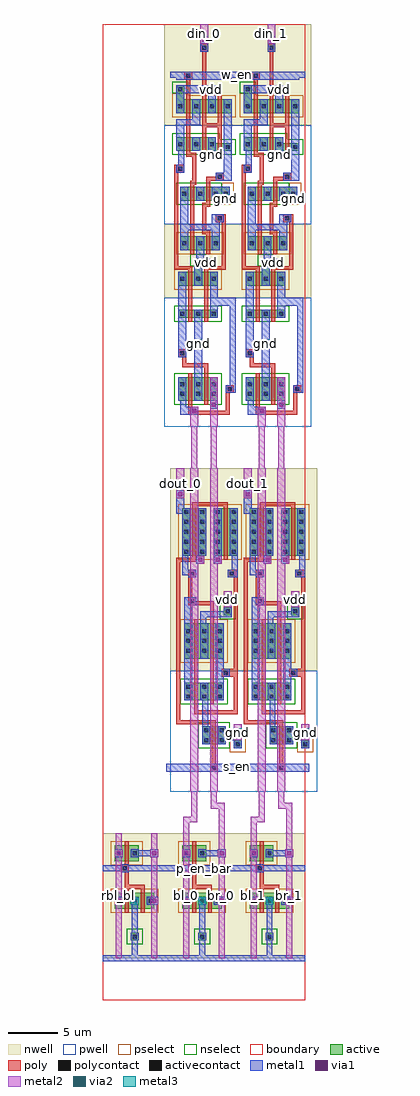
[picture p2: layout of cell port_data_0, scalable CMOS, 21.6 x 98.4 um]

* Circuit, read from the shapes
.subckt port_data_0 bl_0 bl_1 br_0 br_1 din_0 din_1 dout_0 dout_1 gnd p_en_bar rbl_bl rbl_br s_en vdd w_en
M1 n1 w_en n2 gnd nfet w=1.4u l=0.4u
M2 gnd n3 bl_0 gnd nfet w=2.4u l=0.4u
M3 gnd n2 n4 gnd nfet w=0.8u l=0.4u
M4 n5 w_en n6 gnd nfet w=1.4u l=0.4u
M5 n7 n8 dout_0 gnd nfet w=1.8u l=0.4u
M6 gnd din_0 n1 gnd nfet w=1.4u l=0.4u
M7 br_0 n4 gnd gnd nfet w=2.4u l=0.4u
M8 n3 n6 gnd gnd nfet w=0.8u l=0.4u
M9 gnd n9 n5 gnd nfet w=1.4u l=0.4u
M10 n8 dout_0 n7 gnd nfet w=1.8u l=0.4u
M11 gnd s_en n7 gnd nfet w=1.8u l=0.4u
M12 n9 din_0 gnd gnd nfet w=0.8u l=0.4u
M13 n10 w_en n11 gnd nfet w=1.4u l=0.4u
M14 gnd n12 bl_1 gnd nfet w=2.4u l=0.4u
M15 gnd n11 n13 gnd nfet w=0.8u l=0.4u
M16 n14 w_en n15 gnd nfet w=1.4u l=0.4u
M17 n16 n17 dout_1 gnd nfet w=1.8u l=0.4u
M18 gnd din_1 n10 gnd nfet w=1.4u l=0.4u
M19 br_1 n13 gnd gnd nfet w=2.4u l=0.4u
M20 n12 n15 gnd gnd nfet w=0.8u l=0.4u
M21 gnd n18 n14 gnd nfet w=1.4u l=0.4u
M22 n17 dout_1 n16 gnd nfet w=1.8u l=0.4u
M23 gnd s_en n16 gnd nfet w=1.8u l=0.4u
M24 n18 din_1 gnd gnd nfet w=0.8u l=0.4u
M25 vdd p_en_bar rbl_bl vdd pfet w=1.6u l=0.4u
M26 rbl_br p_en_bar rbl_bl vdd pfet w=1.6u l=0.4u
M27 rbl_br p_en_bar vdd vdd pfet w=1.6u l=0.4u
M28 n2 w_en vdd vdd pfet w=1.4u l=0.4u
M29 vdd n2 n4 vdd pfet w=1.4u l=0.4u
M30 vdd w_en n6 vdd pfet w=1.4u l=0.4u
M31 vdd p_en_bar bl_0 vdd pfet w=1.6u l=0.4u
M32 br_0 p_en_bar bl_0 vdd pfet w=1.6u l=0.4u
M33 bl_0 s_en dout_0 vdd pfet w=4.8u l=0.4u
M34 vdd n8 dout_0 vdd pfet w=3.6u l=0.4u
M35 vdd din_0 n2 vdd pfet w=1.4u l=0.4u
M36 n3 n6 vdd vdd pfet w=1.4u l=0.4u
M37 n6 n9 vdd vdd pfet w=1.4u l=0.4u
M38 br_0 p_en_bar vdd vdd pfet w=1.6u l=0.4u
M39 n8 dout_0 vdd vdd pfet w=3.6u l=0.4u
M40 n9 din_0 vdd vdd pfet w=1.4u l=0.4u
M41 n8 s_en br_0 vdd pfet w=4.8u l=0.4u
M42 n11 w_en vdd vdd pfet w=1.4u l=0.4u
M43 vdd n11 n13 vdd pfet w=1.4u l=0.4u
M44 vdd w_en n15 vdd pfet w=1.4u l=0.4u
M45 vdd p_en_bar bl_1 vdd pfet w=1.6u l=0.4u
M46 br_1 p_en_bar bl_1 vdd pfet w=1.6u l=0.4u
M47 bl_1 s_en dout_1 vdd pfet w=4.8u l=0.4u
M48 vdd n17 dout_1 vdd pfet w=3.6u l=0.4u
M49 vdd din_1 n11 vdd pfet w=1.4u l=0.4u
M50 n12 n15 vdd vdd pfet w=1.4u l=0.4u
M51 n15 n18 vdd vdd pfet w=1.4u l=0.4u
M52 br_1 p_en_bar vdd vdd pfet w=1.6u l=0.4u
M53 n17 dout_1 vdd vdd pfet w=3.6u l=0.4u
M54 n18 din_1 vdd vdd pfet w=1.4u l=0.4u
M55 n17 s_en br_1 vdd pfet w=4.8u l=0.4u
.ends

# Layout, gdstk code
import gdstk
lib = gdstk.Library(unit=1e-6, precision=1e-09)
def R(c, l, rs):  # rectangles x0, y0, x1, y1
    for r in rs: c.add(gdstk.rectangle(r[:2], r[2:], *l))
def A(c, l, x, y, w, h, nx, ny, dx, dy):  # array of equal rectangles
    R(c, l, [(x+i*dx, y+j*dy, x+i*dx+w, y+j*dy+h) for i in range(nx) for j in range(ny)])
pwell = (41, 0)
nwell = (42, 0)
active = (43, 0)
pselect = (44, 0)
nselect = (45, 0)
poly = (46, 0)
polycontact = (47, 0)
activecontact = (48, 0)
metal1 = (49, 0)
via1 = (50, 0)
metal2 = (51, 0)
via2 = (61, 0)
metal3 = (62, 0)
boundary = (63, 0)

contact_9 = lib.new_cell('contact_9')
R(contact_9, nwell, [(-1.2,-1.2,2,2)])
R(contact_9, active, [(0,0,0.8,0.8)])
R(contact_9, pselect, [(-0.4,-0.4,1.2,1.2)])
R(contact_9, activecontact, [(0.2,0.2,0.6,0.6)])
R(contact_9, metal1, [(0,0,0.8,0.8)])

pmos_m1_w1_600 = lib.new_cell('pmos_m1_w1_600')
R(pmos_m1_w1_600, nwell, [(-1.2,-1.2,3.6,2.8)])
R(pmos_m1_w1_600, active, [(0,0,2.4,1.6)])
R(pmos_m1_w1_600, pselect, [(-0.4,-0.4,2.8,2)])
R(pmos_m1_w1_600, poly, [(1,-0.4,1.4,2), (1,-0.4,1.4,2)])
R(pmos_m1_w1_600, metal1, [(0,0.4,0.8,1.2), (1.6,0.4,2.4,1.2)])
pmos_m1_w1_600.add(gdstk.Reference(contact_9, (0,0.4)))
pmos_m1_w1_600.add(gdstk.Reference(contact_9, (1.6,0.4)))
pmos_m1_w1_600.add(gdstk.Label('G', (1.2,0.8), layer=46, texttype=0))
pmos_m1_w1_600.add(gdstk.Label('S', (0.4,0.8), layer=49, texttype=0))
pmos_m1_w1_600.add(gdstk.Label('D', (2,0.8), layer=49, texttype=0))

contact_10 = lib.new_cell('contact_10')
R(contact_10, poly, [(0,0,0.8,0.8)])
R(contact_10, polycontact, [(0.2,0.2,0.6,0.6)])
R(contact_10, metal1, [(0,0,0.8,0.8)])

contact_11 = lib.new_cell('contact_11')
R(contact_11, nwell, [(-1.2,-1.2,2,2)])
R(contact_11, active, [(0,0,0.8,0.8)])
R(contact_11, nselect, [(-0.4,-0.4,1.2,1.2)])
R(contact_11, activecontact, [(0.2,0.2,0.6,0.6)])
R(contact_11, metal1, [(0,0,0.8,0.8)])

contact_12 = lib.new_cell('contact_12')
R(contact_12, metal1, [(0,0,0.8,0.8)])
R(contact_12, via1, [(0.2,0.2,0.6,0.6)])
R(contact_12, metal2, [(0,0,0.8,0.8)])

contact_13 = lib.new_cell('contact_13')
R(contact_13, metal2, [(0,0,0.8,0.8)])
R(contact_13, via2, [(0.2,0.2,0.6,0.6)])
R(contact_13, metal3, [(0,0,0.8,0.8)])

precharge_0 = lib.new_cell('precharge_0')
R(precharge_0, nwell, [(0,0,6.8,12.6)])
R(precharge_0, poly, [(2.2,0.8,2.6,5.6), (2.2,5.2,4.2,5.6)])
R(precharge_0, metal1, [(3.2,1.7,5.2,2.3), (0,3.2,6.8,3.8), (4.8,6.5,5.2,7.1), (2.9,7.2,3.5,12.6), (0,12.3,6.8,12.9)])
R(precharge_0, metal2, [(1.3,0,1.9,12.6), (4.9,0,5.5,12.6)])
R(precharge_0, metal3, [(2.8,6.4,3.6,7.2)])
precharge_0.add(gdstk.Reference(pmos_m1_w1_600, (1.2,1.2)))
precharge_0.add(gdstk.Reference(pmos_m1_w1_600, (1.2,6)))
precharge_0.add(gdstk.Reference(pmos_m1_w1_600, (2.8,6)))
precharge_0.add(gdstk.Reference(contact_10, (1.8,3.1)))
precharge_0.add(gdstk.Reference(contact_11, (2.8,10)))
precharge_0.add(gdstk.Reference(contact_12, (2.8,6.4)))
precharge_0.add(gdstk.Reference(contact_13, (2.8,6.4)))
precharge_0.add(gdstk.Reference(contact_12, (1.2,6.4)))
precharge_0.add(gdstk.Reference(contact_12, (1.2,1.6)))
precharge_0.add(gdstk.Reference(contact_12, (4.8,6.4)))
precharge_0.add(gdstk.Reference(contact_12, (4.8,1.6)))
precharge_0.add(gdstk.Label('en_bar', (3.4,3.5), layer=49, texttype=0))
precharge_0.add(gdstk.Label('vdd', (3.2,6.8), layer=62, texttype=0))
precharge_0.add(gdstk.Label('bl', (1.6,6.3), layer=51, texttype=0))
precharge_0.add(gdstk.Label('br', (5.2,6.3), layer=51, texttype=0))

precharge_array_0 = lib.new_cell('precharge_array_0')
R(precharge_array_0, metal1, [(0,3.2,20.4,3.8)])
R(precharge_array_0, metal2, [(1.3,0,1.9,12.6), (4.9,0,5.5,12.6), (8.1,0,8.7,12.6), (11.7,0,12.3,12.6), (14.9,0,15.5,12.6), (18.5,0,19.1,12.6)])
A(precharge_array_0, metal3, 2.8, 6.4, 0.8, 0.8, 3, 1, 6.8, 0)
R(precharge_array_0, boundary, [(0,0,20.4,12.6)])
precharge_array_0.add(gdstk.Reference(precharge_0, (0,0)))
precharge_array_0.add(gdstk.Reference(precharge_0, (6.8,0)))
precharge_array_0.add(gdstk.Reference(precharge_0, (13.6,0)))
precharge_array_0.add(gdstk.Label('en_bar', (10.2,3.5), layer=49, texttype=0))
precharge_array_0.add(gdstk.Label('vdd', (10,6.8), layer=62, texttype=0))
precharge_array_0.add(gdstk.Label('vdd', (3.2,6.8), layer=62, texttype=0))
precharge_array_0.add(gdstk.Label('vdd', (16.8,6.8), layer=62, texttype=0))
precharge_array_0.add(gdstk.Label('bl_0', (1.6,6.3), layer=51, texttype=0))
precharge_array_0.add(gdstk.Label('br_0', (5.2,6.3), layer=51, texttype=0))
precharge_array_0.add(gdstk.Label('bl_1', (8.4,6.3), layer=51, texttype=0))
precharge_array_0.add(gdstk.Label('br_1', (12,6.3), layer=51, texttype=0))
precharge_array_0.add(gdstk.Label('bl_2', (15.2,6.3), layer=51, texttype=0))
precharge_array_0.add(gdstk.Label('br_2', (18.8,6.3), layer=51, texttype=0))

sense_amp = lib.new_cell('sense_amp')
R(sense_amp, pwell, [(0,20.4,8,32.6)])
R(sense_amp, nwell, [(0,0,8,20.4)])
R(sense_amp, active, [(1.2,4,3.6,8.8), (4.4,4,6.8,8.8), (5.4,14,6.2,14.8), (1.4,15.6,5.4,19.2), (1.4,21.6,5.4,23.4), (3.2,26,5.6,27.8), (6.4,27.4,7.2,28.2)])
R(sense_amp, pselect, [(0.8,3.6,7.2,9.2), (1,15.2,5.8,19.6), (6,27,7.6,28.6)])
R(sense_amp, nselect, [(5,13.6,6.6,15.2), (1,21.2,5.8,23.8), (2.8,25.6,6,28.2)])
R(sense_amp, poly, [(2.2,3.4,5.8,3.8), (2.2,3.8,2.6,9), (5.4,3.8,5.8,9.2), (0.6,9,2.6,9.4), (0.6,9.4,1,25.4), (1.8,10.2,2.6,11), (5.8,10.2,6.8,11), (1.8,11,2.2,13), (6.4,11,6.8,20.2), (1.8,13,2.6,13.4), (1.8,13.4,4.4,13.8), (4,13.8,4.4,23.8), (2.4,15.2,2.8,24.4), (5.2,20.2,6.8,21), (6.4,21,6.8,24.4), (2.4,24.4,6.8,24.8), (0.6,25.4,4.6,25.8), (4.2,25.8,4.6,29.8), (4,29.8,4.8,30.6)])
R(sense_amp, polycontact, [(2,10.4,2.4,10.8), (6,10.4,6.4,10.8), (2,13.2,2.4,13.6), (5.4,20.4,5.8,20.8), (4.2,30,4.6,30.4)])
A(sense_amp, activecontact, 1.4, 4.2, 0.4, 0.4, 4, 5, 1.6, 1)
A(sense_amp, activecontact, 1.6, 16.2, 0.4, 0.4, 3, 3, 1.6, 1)
A(sense_amp, activecontact, 1.6, 21.8, 0.4, 0.4, 3, 2, 1.6, 1)
R(sense_amp, activecontact, [(5.6,14.2,6,14.6), (3.4,26.2,3.8,26.6), (5,26.2,5.4,26.6), (3.4,27.2,3.8,27.6), (5,27.2,5.4,27.6), (6.6,27.6,7,28)])
R(sense_amp, metal1, [(0.6,2.2,1.4,4), (0.6,4,2,4.6), (2.8,4,3.6,8.8), (4.4,4,5.2,9.6), (6,4,6.8,8.8), (1.2,4.6,2,8.8), (1.2,8.8,1.8,10.2), (2.6,8.8,3.4,9.6), (6.2,8.8,6.8,10.2), (1.2,10.2,2.6,10.8), (5.8,10.2,6.8,11), (1.8,10.8,2.6,11), (1.4,13,2.6,13.8), (5.4,13.2,6.2,14.4), (1.4,13.8,2.2,23.4), (3,14.4,6.2,15), (3,15,3.6,15.6), (3,15.6,3.8,19.2), (4.6,15.6,5.4,20.2), (4.6,20.2,6,21), (4.6,21,5.4,23.4), (3,21.6,3.8,23.4), (3.2,23.4,3.8,26), (3.2,26,4,27.8), (4.8,26,5.6,26.6), (4.8,26.6,7.2,27.4), (4.8,27.4,5.6,27.8), (6.4,27.4,7.2,28.2), (-0.4,29.8,7.2,30.6), (-0.4,29.8,7.2,30.6)])
R(sense_amp, via1, [(0.8,2.4,1.2,2.8), (2.8,9,3.2,9.4), (4.6,9,5,9.4), (5.6,13.4,6,13.8), (6.6,26.8,7,27.2)])
R(sense_amp, metal2, [(0.6,0,1.4,3), (0.6,0,1.4,3), (2,0,2.8,8.8), (4,0,4.8,8.8), (2,8.8,3.4,9.6), (4,8.8,5.2,9.6), (2,9.6,2.8,32.6), (2,9.6,2.8,32.6), (4,9.6,4.8,32.6), (4,9.6,4.8,32.6), (5.4,12.4,6.2,14), (5.4,12.4,6.2,14), (6.4,25.8,7.2,27.4), (6.4,25.8,7.2,27.4)])
R(sense_amp, boundary, [(0,0,6.8,32.6)])
sense_amp.add(gdstk.Label('en', (0,29.8), layer=49, texttype=0))
sense_amp.add(gdstk.Label('gnd', (6.8,26.2), layer=51, texttype=0))
sense_amp.add(gdstk.Label('vdd', (5.8,12.8), layer=51, texttype=0))
sense_amp.add(gdstk.Label('bl', (2.4,32.2), layer=51, texttype=0))
sense_amp.add(gdstk.Label('br', (4.4,32.2), layer=51, texttype=0))
sense_amp.add(gdstk.Label('dout', (1,0.6), layer=51, texttype=0))
sense_amp.add(gdstk.Label('bl', (2.4,21.1), layer=51, texttype=0))
sense_amp.add(gdstk.Label('br', (4.4,21.1), layer=51, texttype=0))
sense_amp.add(gdstk.Label('dout', (1,1.5), layer=51, texttype=0))
sense_amp.add(gdstk.Label('en', (3.4,30.2), layer=49, texttype=0))
sense_amp.add(gdstk.Label('vdd', (5.8,13.2), layer=51, texttype=0))
sense_amp.add(gdstk.Label('gnd', (6.8,26.6), layer=51, texttype=0))

contact_7 = lib.new_cell('contact_7')
R(contact_7, metal2, [(0,0,0.8,0.8)])
R(contact_7, via2, [(0.2,0.2,0.6,0.6)])
R(contact_7, metal3, [(0,0,0.8,0.8)])

sense_amp_array_0 = lib.new_cell('sense_amp_array_0')
R(sense_amp_array_0, metal1, [(0,29.8,13.6,30.4)])
R(sense_amp_array_0, metal2, [(0.6,0,1.4,3), (7.4,0,8.2,3), (2,9.6,2.8,32.6), (4,9.6,4.8,32.6), (8.8,9.6,9.6,32.6), (10.8,9.6,11.6,32.6)])
R(sense_amp_array_0, metal3, [(5.5,12.9,6.1,13.5), (12.3,12.9,12.9,13.5), (6.5,26.3,7.1,26.9), (13.3,26.3,13.9,26.9)])
R(sense_amp_array_0, boundary, [(0,0,13.6,32.6)])
sense_amp_array_0.add(gdstk.Reference(sense_amp, (0,0)))
sense_amp_array_0.add(gdstk.Reference(sense_amp, (6.8,0)))
sense_amp_array_0.add(gdstk.Reference(contact_7, (6.4,26.2)))
sense_amp_array_0.add(gdstk.Reference(contact_7, (5.4,12.8)))
sense_amp_array_0.add(gdstk.Reference(contact_7, (13.2,26.2)))
sense_amp_array_0.add(gdstk.Reference(contact_7, (12.2,12.8)))
sense_amp_array_0.add(gdstk.Label('gnd', (13.6,26.6), layer=62, texttype=0))
sense_amp_array_0.add(gdstk.Label('gnd', (6.8,26.6), layer=62, texttype=0))
sense_amp_array_0.add(gdstk.Label('vdd', (12.6,13.2), layer=62, texttype=0))
sense_amp_array_0.add(gdstk.Label('vdd', (5.8,13.2), layer=62, texttype=0))
sense_amp_array_0.add(gdstk.Label('bl_0', (2.4,21.1), layer=51, texttype=0))
sense_amp_array_0.add(gdstk.Label('br_0', (4.4,21.1), layer=51, texttype=0))
sense_amp_array_0.add(gdstk.Label('data_0', (1,1.5), layer=51, texttype=0))
sense_amp_array_0.add(gdstk.Label('bl_1', (9.2,21.1), layer=51, texttype=0))
sense_amp_array_0.add(gdstk.Label('br_1', (11.2,21.1), layer=51, texttype=0))
sense_amp_array_0.add(gdstk.Label('data_1', (7.8,1.5), layer=51, texttype=0))
sense_amp_array_0.add(gdstk.Label('en', (6.8,30.1), layer=49, texttype=0))

write_driver = lib.new_cell('write_driver')
R(write_driver, pwell, [(-0.6,10.2,7.4,20.2), (-0.6,27.6,7.4,40.6)])
R(write_driver, nwell, [(-0.6,0,7.4,10.2), (-0.6,20.2,7.4,27.6)])
R(write_driver, active, [(0.6,6.2,1.4,7.6), (0.6,7.6,6.2,9), (0.6,11.4,4.6,12), (0.6,12,6.2,12.8), (1,16.4,6,17.8), (1,21.4,5,22.8), (2.4,23.6,3.2,25), (0.8,25,4.8,26.4), (0.8,28.8,4.8,29.6), (0.8,35.6,4.8,38)])
R(write_driver, pselect, [(0.2,7,1.8,7.2), (0.2,7.2,6.6,9.4), (5.2,16,6.4,18.2), (0.6,21,5.4,23.2), (2,24.4,3.6,24.6), (0.4,24.6,5.2,26.8)])
R(write_driver, nselect, [(0.2,5.8,1.8,7), (0.2,11,5,11.6), (0.2,11.6,6.6,13.2), (0.6,16,5.2,18.2), (2,23.2,3.6,24.4), (0.4,28.4,5.2,30), (0.4,35.2,5.2,38.4)])
R(write_driver, poly, [(3,2,3.8,2.8), (3.2,2.8,3.6,10), (1.4,4.8,2.2,5.6), (1.6,5.6,2,13), (4.8,7.2,5.2,10), (3.2,10,5.2,10.4), (3.2,10.4,3.6,13.2), (4.8,10.4,5.2,13.2), (1.6,13,2.6,13.4), (2.2,13.4,2.6,15.8), (0.4,14.2,1.4,15), (0.4,15,0.8,24.4), (4.6,15,5.4,15.4), (3.6,15.4,5.4,15.8), (2,15.8,2.6,16.2), (3.6,15.8,4,18), (2,16.2,2.4,23.2), (3.2,18,4,18.4), (3.2,18.4,3.6,20.8), (4.6,19.2,5.6,20), (5.2,20,5.6,24.4), (3.2,20.8,4,21.2), (3.6,21.2,4,23.2), (0.4,24.4,2.2,24.8), (3.4,24.4,5.6,24.8), (1.8,24.8,2.2,30), (3.4,24.8,3.8,30), (0.8,32.8,1.6,33.6), (1.2,33.6,1.6,34.2), (1.2,34.2,3.8,34.6), (3.4,34.6,3.8,38.4), (1.8,35.2,2.2,39), (5.6,36.4,6.4,37.2), (5.6,37.2,6,39), (1.8,39,6,39.4)])
R(write_driver, polycontact, [(3.2,2.2,3.6,2.6), (1.6,5,2,5.4), (0.8,14.4,1.2,14.8), (4.8,15.2,5.2,15.6), (4.8,19.4,5.2,19.8), (1,33,1.4,33.4), (5.8,36.6,6.2,37)])
A(write_driver, activecontact, 0.8, 8.1, 0.4, 0.4, 4, 1, 1.6, 0)
A(write_driver, activecontact, 0.8, 11.9, 0.4, 0.4, 3, 1, 1.6, 0)
A(write_driver, activecontact, 1.2, 16.9, 0.4, 0.4, 3, 2, 1.6, 5)
A(write_driver, activecontact, 1, 25.5, 0.4, 0.4, 3, 2, 1.6, 3.5)
A(write_driver, activecontact, 1, 36.1, 0.4, 0.4, 3, 2, 1.6, 1)
R(write_driver, activecontact, [(0.8,6.4,1.2,6.8), (5.6,12.2,6,12.6), (5.4,16.9,5.8,17.3), (2.6,23.8,3,24.2)])
R(write_driver, metal1, [(3,1.2,3.8,2.8), (0.6,4.8,6.2,5.6), (0.6,4.8,6.2,5.6), (0.6,6.2,4.6,7), (0.6,7,1.4,9), (3.8,7,4.6,9), (2.2,7.6,3,9.6), (5.4,7.6,6.2,15), (0.6,9.6,3,10.2), (0.6,10.2,1.4,12.8), (2.2,11.4,3,12.8), (3.8,11.4,4.6,13.6), (0.8,12.8,1.4,14.2), (0.6,14.2,1.4,15), (4.6,15,6.2,15.8), (1,16.4,1.8,20.2), (2.6,16.4,3.4,17.8), (4.2,16.4,6,17.8), (5,17.8,6,18), (4.2,19.2,5.4,20), (4.2,20,5,20.2), (1,20.2,5,20.8), (1,20.8,1.8,22.8), (4.2,20.8,5,22.8), (2.6,21.4,3.4,23.6), (2.4,23.6,4,24.4), (2.4,24.4,3.2,26.4), (0.8,25,1.6,33.6), (4,25,4.8,27.6), (4,27.6,6.6,28.4), (4,28.4,4.8,29.6), (6,28.4,6.6,36.4), (2.4,28.8,3.2,38), (0.8,35.6,1.6,38), (4,35.6,4.8,38.8), (5.6,36.4,6.6,37.2), (1,38,1.6,38.6), (1,38.6,2.8,39.4)])
R(write_driver, via1, [(3.2,1.4,3.6,1.8), (4,6.4,4.4,6.8), (4,13,4.4,13.4), (5.4,17.4,5.8,17.8), (3.4,23.8,3.8,24.2), (2.6,32,3,32.4), (4.2,38.2,4.6,38.6), (2.2,38.8,2.6,39.2)])
R(write_driver, metal2, [(3,0,3.8,2), (3,0,3.8,2), (3.8,6.2,4.6,7), (3.8,6.2,4.6,7), (3.8,12.8,4.6,13.6), (3.8,12.8,4.6,13.6), (5.2,17.2,6,18), (5.2,17.2,6,18), (3.2,23.6,4,24.4), (3.2,23.6,4,24.4), (2.4,31.8,3.2,32.6), (2.4,31.8,3.2,32.6), (4,35.6,4.8,40.6), (4,35.6,4.8,40.6), (2,38.6,2.8,40.6), (2,38.6,2.8,40.6)])
R(write_driver, boundary, [(0,0,6.8,40.6)])
write_driver.add(gdstk.Label('din', (3,0.2), layer=51, texttype=0))
write_driver.add(gdstk.Label('gnd', (4.2,13.2), layer=51, texttype=0))
write_driver.add(gdstk.Label('gnd', (5.6,17.6), layer=51, texttype=0))
write_driver.add(gdstk.Label('vdd', (4.2,6.6), layer=51, texttype=0))
write_driver.add(gdstk.Label('vdd', (3.6,24), layer=51, texttype=0))
write_driver.add(gdstk.Label('bl', (2.4,40.2), layer=51, texttype=0))
write_driver.add(gdstk.Label('br', (4.4,40.2), layer=51, texttype=0))
write_driver.add(gdstk.Label('gnd', (2.8,32.2), layer=51, texttype=0))
write_driver.add(gdstk.Label('en', (3.4,5.2), layer=49, texttype=0))
write_driver.add(gdstk.Label('din', (3.4,1), layer=51, texttype=0))
write_driver.add(gdstk.Label('bl', (2.4,39.6), layer=51, texttype=0))
write_driver.add(gdstk.Label('br', (4.4,38.1), layer=51, texttype=0))
write_driver.add(gdstk.Label('en', (3.4,5.2), layer=49, texttype=0))
write_driver.add(gdstk.Label('vdd', (4.2,6.6), layer=51, texttype=0))
write_driver.add(gdstk.Label('vdd', (3.6,24), layer=51, texttype=0))
write_driver.add(gdstk.Label('gnd', (4.2,13.2), layer=51, texttype=0))
write_driver.add(gdstk.Label('gnd', (5.6,17.6), layer=51, texttype=0))
write_driver.add(gdstk.Label('gnd', (2.8,32.2), layer=51, texttype=0))

write_driver_array_0 = lib.new_cell('write_driver_array_0')
R(write_driver_array_0, metal1, [(0,4.8,13.6,5.4)])
R(write_driver_array_0, metal2, [(3,0,3.8,2), (9.8,0,10.6,2), (4,35.6,4.8,40.6), (10.8,35.6,11.6,40.6), (2,38.6,2.8,40.6), (8.8,38.6,9.6,40.6)])
R(write_driver_array_0, metal3, [(3.9,6.3,4.5,6.9), (10.7,6.3,11.3,6.9), (3.9,12.9,4.5,13.5), (10.7,12.9,11.3,13.5), (5.3,17.3,5.9,17.9), (12.1,17.3,12.7,17.9), (3.3,23.7,3.9,24.3), (10.1,23.7,10.7,24.3), (2.5,31.9,3.1,32.5), (9.3,31.9,9.9,32.5)])
R(write_driver_array_0, boundary, [(0,0,13.6,40.6)])
write_driver_array_0.add(gdstk.Reference(write_driver, (0,0)))
write_driver_array_0.add(gdstk.Reference(write_driver, (6.8,0)))
write_driver_array_0.add(gdstk.Reference(contact_7, (3.8,6.2)))
write_driver_array_0.add(gdstk.Reference(contact_7, (3.2,23.6)))
write_driver_array_0.add(gdstk.Reference(contact_7, (3.8,12.8)))
write_driver_array_0.add(gdstk.Reference(contact_7, (5.2,17.2)))
write_driver_array_0.add(gdstk.Reference(contact_7, (2.4,31.8)))
write_driver_array_0.add(gdstk.Reference(contact_7, (10.6,6.2)))
write_driver_array_0.add(gdstk.Reference(contact_7, (10,23.6)))
write_driver_array_0.add(gdstk.Reference(contact_7, (10.6,12.8)))
write_driver_array_0.add(gdstk.Reference(contact_7, (12,17.2)))
write_driver_array_0.add(gdstk.Reference(contact_7, (9.2,31.8)))
write_driver_array_0.add(gdstk.Label('data_0', (3.4,1), layer=51, texttype=0))
write_driver_array_0.add(gdstk.Label('bl_0', (2.4,39.6), layer=51, texttype=0))
write_driver_array_0.add(gdstk.Label('br_0', (4.4,38.1), layer=51, texttype=0))
write_driver_array_0.add(gdstk.Label('vdd', (11,6.6), layer=62, texttype=0))
write_driver_array_0.add(gdstk.Label('vdd', (10.4,24), layer=62, texttype=0))
write_driver_array_0.add(gdstk.Label('vdd', (3.6,24), layer=62, texttype=0))
write_driver_array_0.add(gdstk.Label('vdd', (4.2,6.6), layer=62, texttype=0))
write_driver_array_0.add(gdstk.Label('gnd', (9.6,32.2), layer=62, texttype=0))
write_driver_array_0.add(gdstk.Label('gnd', (2.8,32.2), layer=62, texttype=0))
write_driver_array_0.add(gdstk.Label('gnd', (5.6,17.6), layer=62, texttype=0))
write_driver_array_0.add(gdstk.Label('gnd', (11,13.2), layer=62, texttype=0))
write_driver_array_0.add(gdstk.Label('gnd', (4.2,13.2), layer=62, texttype=0))
write_driver_array_0.add(gdstk.Label('gnd', (12.4,17.6), layer=62, texttype=0))
write_driver_array_0.add(gdstk.Label('data_1', (10.2,1), layer=51, texttype=0))
write_driver_array_0.add(gdstk.Label('bl_1', (9.2,39.6), layer=51, texttype=0))
write_driver_array_0.add(gdstk.Label('br_1', (11.2,38.1), layer=51, texttype=0))
write_driver_array_0.add(gdstk.Label('en', (6.8,5.1), layer=49, texttype=0))

port_data_0 = lib.new_cell('port_data_0')
R(port_data_0, metal1, [(0,13,20.4,13.6), (6.8,23.2,20.4,23.8), (6.8,93,20.4,93.6)])
R(port_data_0, metal2, [(1.3,4.2,1.9,16.8), (4.9,4.2,5.5,16.8), (8.1,4.2,8.7,16.8), (11.7,4.2,12.3,16.8), (14.9,4.2,15.5,16.8), (18.5,4.2,19.1,16.8), (8.1,10.5,8.7,18.2), (11.7,10.5,12.3,19.6), (14.9,10.5,15.5,18.2), (18.5,10.5,19.1,19.6), (8.1,17.9,9.5,18.5), (14.9,17.9,16.3,18.5), (8.9,18.2,9.5,32.5), (15.7,18.2,16.3,32.5), (10.9,19.3,12.3,19.9), (17.7,19.3,19.1,19.9), (10.9,19.6,11.5,32.5), (17.7,19.6,18.3,32.5), (8.9,32.5,9.5,55), (10.9,32.5,11.5,56.4), (15.7,32.5,16.3,55), (17.7,32.5,18.3,56.4), (7.4,50.6,8.2,53.6), (14.2,50.6,15,53.6), (8.9,54.7,9.5,55.3), (15.7,54.7,16.3,55.3), (8.9,55,9.5,58.8), (15.7,55,16.3,58.8), (10.9,56.1,11.5,56.7), (17.7,56.1,18.3,56.7), (10.9,56.4,11.5,60.3), (17.7,56.4,18.3,60.3), (9.8,96.4,10.6,98.4), (16.6,96.4,17.4,98.4)])
A(port_data_0, metal3, 2.8, 9.6, 0.8, 0.8, 3, 1, 6.8, 0)
R(port_data_0, metal3, [(13.3,26.7,13.9,27.3), (20.1,26.7,20.7,27.3), (12.3,40.1,12.9,40.7), (19.1,40.1,19.7,40.7), (9.3,65.9,9.9,66.5), (16.1,65.9,16.7,66.5), (10.1,74.1,10.7,74.7), (16.9,74.1,17.5,74.7), (12.1,80.5,12.7,81.1), (18.9,80.5,19.5,81.1), (10.7,84.9,11.3,85.5), (17.5,84.9,18.1,85.5), (10.7,91.5,11.3,92.1), (17.5,91.5,18.1,92.1)])
R(port_data_0, boundary, [(0,0,20.4,98.4)])
port_data_0.add(gdstk.Reference(precharge_array_0, (0,16.8), x_reflection=True))
port_data_0.add(gdstk.Reference(sense_amp_array_0, (6.8,53.6), x_reflection=True))
port_data_0.add(gdstk.Reference(write_driver_array_0, (6.8,98.4), x_reflection=True))
port_data_0.add(gdstk.Label('din_0', (10.2,97.4), layer=51, texttype=0))
port_data_0.add(gdstk.Label('din_1', (17,97.4), layer=51, texttype=0))
port_data_0.add(gdstk.Label('dout_0', (7.8,52.1), layer=51, texttype=0))
port_data_0.add(gdstk.Label('dout_1', (14.6,52.1), layer=51, texttype=0))
port_data_0.add(gdstk.Label('rbl_bl', (1.6,10.5), layer=51, texttype=0))
port_data_0.add(gdstk.Label('rbl_br', (5.2,10.5), layer=51, texttype=0))
port_data_0.add(gdstk.Label('bl_0', (8.4,10.5), layer=51, texttype=0))
port_data_0.add(gdstk.Label('br_0', (12,10.5), layer=51, texttype=0))
port_data_0.add(gdstk.Label('bl_1', (15.2,10.5), layer=51, texttype=0))
port_data_0.add(gdstk.Label('br_1', (18.8,10.5), layer=51, texttype=0))
port_data_0.add(gdstk.Label('p_en_bar', (10.2,13.3), layer=49, texttype=0))
port_data_0.add(gdstk.Label('s_en', (13.6,23.5), layer=49, texttype=0))
port_data_0.add(gdstk.Label('w_en', (13.6,93.3), layer=49, texttype=0))
port_data_0.add(gdstk.Label('vdd', (12.6,40.4), layer=62, texttype=0))
port_data_0.add(gdstk.Label('vdd', (10,10), layer=62, texttype=0))
port_data_0.add(gdstk.Label('vdd', (11,91.8), layer=62, texttype=0))
port_data_0.add(gdstk.Label('vdd', (17.8,91.8), layer=62, texttype=0))
port_data_0.add(gdstk.Label('vdd', (3.2,10), layer=62, texttype=0))
port_data_0.add(gdstk.Label('vdd', (16.8,10), layer=62, texttype=0))
port_data_0.add(gdstk.Label('vdd', (19.4,40.4), layer=62, texttype=0))
port_data_0.add(gdstk.Label('vdd', (17.2,74.4), layer=62, texttype=0))
port_data_0.add(gdstk.Label('vdd', (10.4,74.4), layer=62, texttype=0))
port_data_0.add(gdstk.Label('gnd', (9.6,66.2), layer=62, texttype=0))
port_data_0.add(gdstk.Label('gnd', (13.6,27), layer=62, texttype=0))
port_data_0.add(gdstk.Label('gnd', (16.4,66.2), layer=62, texttype=0))
port_data_0.add(gdstk.Label('gnd', (20.4,27), layer=62, texttype=0))
port_data_0.add(gdstk.Label('gnd', (12.4,80.8), layer=62, texttype=0))
port_data_0.add(gdstk.Label('gnd', (19.2,80.8), layer=62, texttype=0))
port_data_0.add(gdstk.Label('gnd', (17.8,85.2), layer=62, texttype=0))
port_data_0.add(gdstk.Label('gnd', (11,85.2), layer=62, texttype=0))

lib.write_gds('port_data_0.gds')
